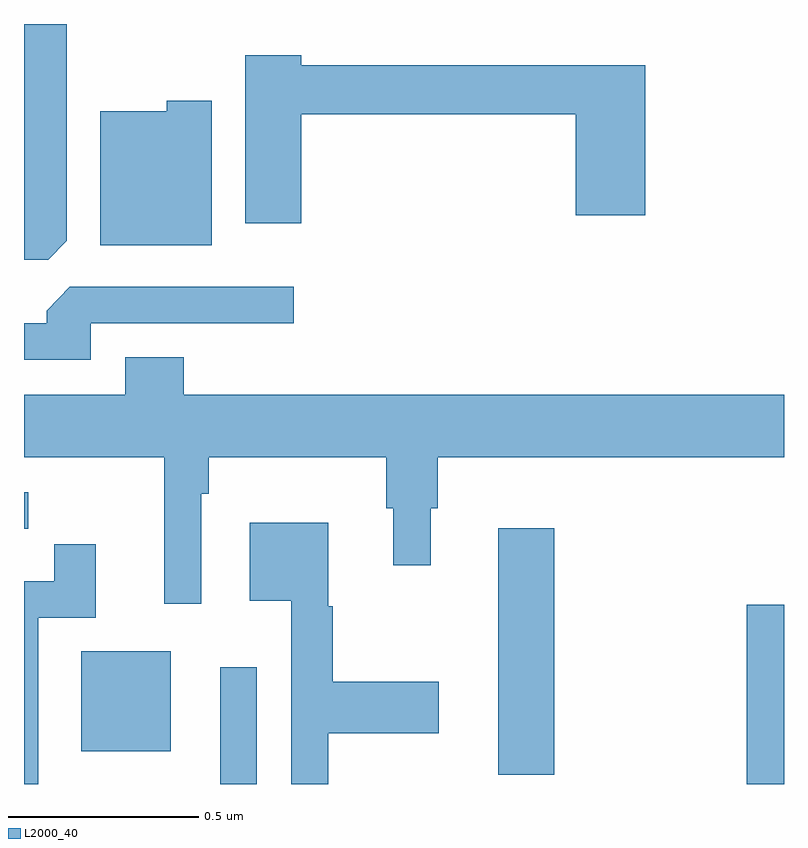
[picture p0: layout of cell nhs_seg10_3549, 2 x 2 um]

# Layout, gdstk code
import gdstk
lib = gdstk.Library(unit=1e-6, precision=1e-09)
def R(c, l, rs):  # rectangles x0, y0, x1, y1
    for r in rs: c.add(gdstk.rectangle(r[:2], r[2:], *l))
def P(c, l, *ps):  # polygons
    for p in ps: c.add(gdstk.Polygon(p, *l))
L2000_40 = (2000, 40)

nhs_seg10_3549 = lib.new_cell('nhs_seg10_3549')
R(nhs_seg10_3549, L2000_40, [(155.516,1255.5,155.613,1255.807), (156.902,1255.5,157,1255.972), (156.248,1255.524,156.395,1256.173), (155.15,1255.586,155.386,1255.849), (155,1256.172,155.011,1256.268)])
P(nhs_seg10_3549, L2000_40, [(155.113,1256.929),(155.113,1257.5),(155,1257.5),(155,1257.073),(155.001,1257.073),(155.001,1256.976),(155,1256.976),(155,1256.88),(155.064,1256.88)],
  [(155.729,1257.262),(156.452,1257.262),(156.452,1256.997),(156.635,1256.997),(156.635,1257.391),(155.729,1257.391),(155.729,1257.418),(155.582,1257.418),(155.582,1256.976),(155.729,1256.976)],
  [(155.494,1257.298),(155.376,1257.298),(155.376,1257.271),(155.201,1257.271),(155.201,1256.918),(155.494,1256.918)],
  [(155.175,1256.712),(155.71,1256.712),(155.71,1256.808),(155.121,1256.808),(155.06,1256.746),(155.06,1256.712),(155,1256.712),(155,1256.616),(155.175,1256.616)],
  [(155.466,1256.264),(155.486,1256.264),(155.486,1256.36),(155.953,1256.36),(155.953,1256.226),(155.972,1256.226),(155.972,1256.076),(156.07,1256.076),(156.07,1256.226),(156.089,1256.226),(156.089,1256.36),(157,1256.36),(157,1256.524),(155.42,1256.524),(155.42,1256.623),(155.267,1256.623),(155.267,1256.524),(155,1256.524),(155,1256.36),(155.369,1256.36),(155.369,1255.974),(155.466,1255.974)],
  [(155.8,1255.634),(156.091,1255.634),(156.091,1255.769),(155.812,1255.769),(155.812,1255.968),(155.8,1255.968),(155.8,1256.188),(155.594,1256.188),(155.594,1255.982),(155.703,1255.982),(155.703,1255.5),(155.8,1255.5)],
  [(155.037,1255.576),(155.038,1255.576),(155.038,1255.938),(155.189,1255.938),(155.189,1256.131),(155.08,1256.131),(155.08,1256.034),(155,1256.034),(155,1255.5),(155.037,1255.5)])

lib.write_gds('nhs_seg10_3549.gds')
